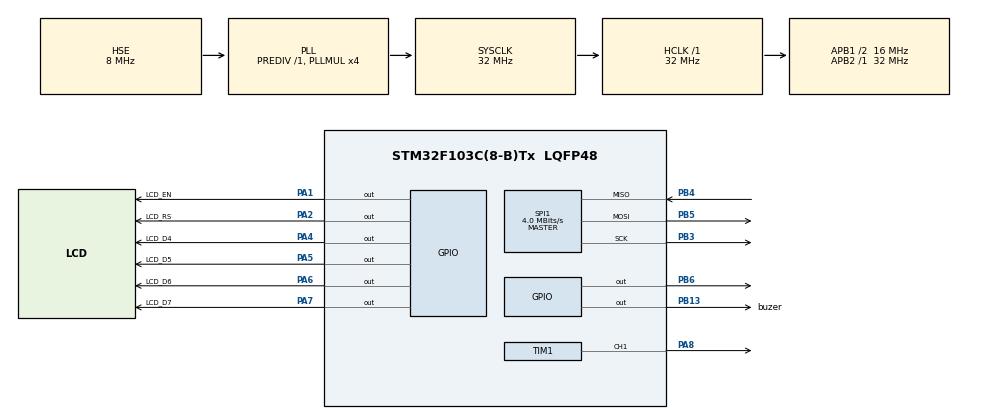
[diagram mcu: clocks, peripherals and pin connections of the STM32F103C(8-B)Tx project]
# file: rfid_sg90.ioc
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Mcu.Family=STM32F1
Mcu.Name=STM32F103C(8-B)Tx
Mcu.Package=LQFP48
NVIC.PriorityGroup=NVIC_PRIORITYGROUP_4
PA1.GPIO_Label=LCD_EN
PA1.Signal=GPIO_Output
PA13.Mode=Serial_Wire
PA13.Signal=SYS_JTMS-SWDIO
PA14.Mode=Serial_Wire
PA14.Signal=SYS_JTCK-SWCLK
PA2.GPIO_Label=LCD_RS
PA2.Signal=GPIO_Output
PA4.GPIO_Label=LCD_D4
PA4.Signal=GPIO_Output
PA5.GPIO_Label=LCD_D5
PA5.Signal=GPIO_Output
PA6.GPIO_Label=LCD_D6
PA6.Signal=GPIO_Output
PA7.GPIO_Label=LCD_D7
PA7.Signal=GPIO_Output
PA8.Signal=S_TIM1_CH1
PB13.GPIO_Label=buzer
PB13.Signal=GPIO_Output
PB3.Mode=Full_Duplex_Master
PB3.Signal=SPI1_SCK
PB4.Mode=Full_Duplex_Master
PB4.Signal=SPI1_MISO
PB5.Mode=Full_Duplex_Master
PB5.Signal=SPI1_MOSI
PB6.Signal=GPIO_Output
PC14-OSC32_IN.Mode=LSE-External-Oscillator
PC14-OSC32_IN.Signal=RCC_OSC32_IN
PC15-OSC32_OUT.Mode=LSE-External-Oscillator
PC15-OSC32_OUT.Signal=RCC_OSC32_OUT
PD0-OSC_IN.Mode=HSE-External-Oscillator
PD0-OSC_IN.Signal=RCC_OSC_IN
PD1-OSC_OUT.Mode=HSE-External-Oscillator
PD1-OSC_OUT.Signal=RCC_OSC_OUT
ProjectManager.HeapSize=0x200
ProjectManager.StackSize=0x400
ProjectManager.TargetToolchain=STM32CubeIDE
RCC.AHBFreq_Value=32000000
RCC.APB1CLKDivider=RCC_HCLK_DIV2
RCC.APB1Freq_Value=16000000
RCC.APB1TimFreq_Value=32000000
RCC.APB2Freq_Value=32000000
RCC.APB2TimFreq_Value=32000000
RCC.HCLKFreq_Value=32000000
RCC.PLLMUL=RCC_PLL_MUL4
RCC.PLLSourceVirtual=RCC_PLLSOURCE_HSE
RCC.SYSCLKFreq_VALUE=32000000
RCC.SYSCLKSource=RCC_SYSCLKSOURCE_PLLCLK
RCC.USBFreq_Value=32000000
SH.S_TIM1_CH1.0=TIM1_CH1,PWM Generation1 CH1
SPI1.BaudRatePrescaler=SPI_BAUDRATEPRESCALER_8
SPI1.CalculateBaudRate=4.0 MBits/s
SPI1.Direction=SPI_DIRECTION_2LINES
SPI1.Mode=SPI_MODE_MASTER
SPI1.VirtualType=VM_MASTER
TIM1.Channel-PWM\ Generation1\ CH1=TIM_CHANNEL_1
TIM1.Period=1799
TIM1.Prescaler=355
board=custom

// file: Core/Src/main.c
/* USER CODE BEGIN Header */
/**
  ******************************************************************************
  * @file           : main.c
  * @brief          : Main program body
  ******************************************************************************
  * @attention
  *
  * Copyright (c) 2022 STMicroelectronics.
  * All rights reserved.
  *
  * This software is licensed under terms that can be found in the LICENSE file
  * in the root directory of this software component.
  * If no LICENSE file comes with this software, it is provided AS-IS.
  *
  ******************************************************************************
  */
/* USER CODE END Header */
#include "main.h"
#include "spi.h"
#include "tim.h"
#include "gpio.h"

/* USER CODE BEGIN Includes */
#include "lcd.h"
#include "rc522.h"
#include "stdio.h"
#include "stdlib.h"
#include "string.h"

/* USER CODE END Includes */

/* USER CODE BEGIN PV */

uint8_t okunan_ham[MFRC522_MAX_LEN] ;
uint16_t kart_no[5] ;
uint16_t kayitli_id1[5] ={115,237,74,167,115} ; //ALİ
uint16_t kayitli_id2[5] ={108,101,174,219,124} ; //SALİH
uint16_t kayitli_id3[5] ={131,4,24,173,50} ;   //SAKİNE
uint16_t kayitli_id4[5] ={83,117,183,29,140} ;  //VELİ

uint8_t text1[16];
uint8_t durum ;
/* USER CODE END PV */

void SystemClock_Config(void);

int main(void)
{

  /* MCU Configuration--------------------------------------------------------*/

  /* Reset of all peripherals, Initializes the Flash interface and the Systick. */
  HAL_Init();

  /* Configure the system clock */
  SystemClock_Config();

  /* USER CODE BEGIN SysInit */

  extern SPI_HandleTypeDef hspi1;

  // RC522
  extern uint8_t MFRC522_Check(uint8_t* id);
  extern uint8_t MFRC522_Compare(uint8_t* CardID, uint8_t* CompareID);
  extern void MFRC522_WriteRegister(uint8_t addr, uint8_t val);
  extern uint8_t MFRC522_ReadRegister(uint8_t addr);
  extern void MFRC522_SetBitMask(uint8_t reg, uint8_t mask);
  extern void MFRC522_ClearBitMask(uint8_t reg, uint8_t mask);
  extern uint8_t MFRC522_Request(uint8_t reqMode, uint8_t* TagType);
  extern uint8_t MFRC522_ToCard(uint8_t command, uint8_t* sendData, uint8_t sendLen, uint8_t* backData, uint16_t* backLen);
  extern uint8_t MFRC522_Anticoll(uint8_t* serNum);
  extern void MFRC522_CalulateCRC(uint8_t* pIndata, uint8_t len, uint8_t* pOutData);
  extern uint8_t MFRC522_SelectTag(uint8_t* serNum);
  extern uint8_t MFRC522_Auth(uint8_t authMode, uint8_t BlockAddr, uint8_t* Sectorkey, uint8_t* serNum);
  extern uint8_t MFRC522_Read(uint8_t blockAddr, uint8_t* recvData);
  extern uint8_t MFRC522_Write(uint8_t blockAddr, uint8_t* writeData);
  extern void MFRC522_Init(void);
  extern void MFRC522_Reset(void);
  extern void MFRC522_AntennaOn(void);
  extern void MFRC522_AntennaOff(void);
  extern void MFRC522_Halt(void);

  void Servo_Angle(int angle) //SERVO KÜTÜPHANESİ
  {
  	if(angle<0)
  		angle=0;
  	if(angle>180)
  		angle=180;
  	angle=angle+45;

  	__HAL_TIM_SET_COMPARE(&htim1,TIM_CHANNEL_1,angle);

  }

  void ana_erkan()// BU KART OKUTULMADIKÇA EKRANDA YAZACAK FONKSİYON WHİLE DÖNGÜSÜNÜN İÇİNDE KULLANDIK.
  {
	  lcd_clear();
	  lcd_print(1,1,"   TEKNOLOJI    ");
	  lcd_print(2,1,"   FAKULTESI    ");
  }

  /* USER CODE END SysInit */

  /* Initialize all configured peripherals */
  MX_GPIO_Init();
  MX_TIM1_Init();
  MX_SPI1_Init();
  /* USER CODE BEGIN 2 */

  MFRC522_Init();

   HAL_TIM_PWM_Start(&htim1, TIM_CHANNEL_1);

  lcd_init(_LCD_4BIT, _LCD_FONT_5x8, _LCD_2LINE);

        ana_erkan();
  	 	HAL_Delay(3000);

  /* USER CODE END 2 */

  /* Infinite loop */
  while (1)
  {

    /* USER CODE BEGIN 3 */

	  if( !MFRC522_Request(PICC_REQIDL,okunan_ham) ) // REQUEST FONKSİYONU RFİD YE KART VAR MI YOK MU ONU SORAR DEVAMLI.
	  	 {

	  	      if(! MFRC522_Anticoll(okunan_ham)) // HERHANGİ BİR KART ALGILANDI�?INDA İKİNCİ Bİ KARTI OKUMAZ.
	  	      {
	  	        for(int a = 0 ; a<5; a++) //OKUNAN HAM VERİYİ KART NO'YA AKTARIYOR.
	  	        {
	  	          kart_no[a] = okunan_ham[a];

	  	        }
	  	                         sprintf(text1,"%d",kart_no) ; //KART NO DAKİ SAYILARI LCD YE YAZMAK İÇİN KULLANILAN FONKSİYON.
	  	       	         		 lcd_clear();
	  	       	         		 lcd_print(1,1,"KART OKUNDU");
	  	       	         		 lcd_print(2,1,text1) ;
	  	       	         		 HAL_GPIO_WritePin(buzer_GPIO_Port, buzer_Pin,GPIO_PIN_SET);
	  	       	         		 HAL_Delay(250);
	  	       	         	     HAL_GPIO_WritePin(buzer_GPIO_Port, buzer_Pin,GPIO_PIN_RESET);
	  	       	         		 HAL_Delay(2000) ;

	  	 if( (MFRC522_Compare(kart_no, kayitli_id1) == MI_OK )) //COMPARE FONKSİYONU KAR�?ILA�?TIMRAYI SA�?LAR DO�?RUYSA İF E GİRER.

	  	 {
	  		lcd_clear();
	  		lcd_print(1,1,"    MERHABA");
	  		lcd_print(2,1,"      ALi");
	  		HAL_Delay(1500);
	  		 durum = 1 ;

	  	 }
	  	 else if((MFRC522_Compare(kart_no, kayitli_id2) == MI_OK )) //COMPARE FONKSİYONU KAR�?ILA�?TIMRAYI SA�?LAR DO�?RUYSA İF E GİRER.
	  	 {
	  		lcd_clear();
	  		lcd_print(1,1,"    MERHABA");
	  	    lcd_print(2,1,"     SALiH");
	  	    HAL_Delay(1500);
	  	    durum = 1 ;
	  	 }
	  	 else if((MFRC522_Compare(kart_no, kayitli_id3) == MI_OK )) //COMPARE FONKSİYONU KAR�?ILA�?TIMRAYI SA�?LAR DO�?RUYSA İF E GİRER.
	  		  	 {
	  		  		lcd_clear();
	  		  		lcd_print(1,1,"    MERHABA");
	  		  		lcd_print(2,1,"     SAKiNE");
	  		  	    HAL_Delay(1500);
	  		  	    durum = 1 ;
	  		  	 }
	  	 else if((MFRC522_Compare(kart_no, kayitli_id4) == MI_OK )) //COMPARE FONKSİYONU KAR�?ILA�?TIMRAYI SA�?LAR DO�?RUYSA İF E GİRER.
	  		  	 {
	  		  		lcd_clear();
	  		  		lcd_print(1,1,"    MERHABA");
	  		  	    lcd_print(2,1,"      VELi");
	  		  	    HAL_Delay(1500);
	  		  	    durum = 1 ;
	  		  	 }

	  	 else
	  	 {
	  		 durum = 0 ;

	  		 lcd_clear();
	  	     lcd_print(1,1,"    KAYITSIZ");
	  	     lcd_print(2,1,"      KiSi");
	  	     for(int d=0; d<6; d++) //BUZZER BURADA 3 PULSE YANİ 3 KEZ ÖTER BU DA DÖNGÜDE 6 KEZ TOGGLE A NEDEN OLUR O YÜZDEN 6 YA KADAR SAYILIR.
	  	     {
	  	    	 HAL_GPIO_TogglePin(buzer_GPIO_Port, buzer_Pin);
	  	    	 HAL_Delay(500);
	  	     }
	  	     HAL_GPIO_WritePin(buzer_GPIO_Port, buzer_Pin, GPIO_PIN_RESET);

	  		 for(int b=0 ; b<5 ; b++) // BURADA KAYITSIZ Kİ�?İYKEN KART NO DİZİSİNİN İÇİ SIFIRLANIYOR./KAYITLI Kİ�?İLERİNKİ DURUM 1 İN İÇİNDE SIFIRLANIYOR.
	  		 {
	  			kart_no[b]= 0 ;
	  		 }
	  		 for(int c=0 ; c<16 ; c++) // BURADA KAYITSIZ Kİ�?İYKEN OKUNAN HAM DİZİSİNİN İÇİ SIFIRLANIYOR.
	  		 {
	  		 okunan_ham[c]= 0 ;
	  		 }
              ana_erkan();
	  	 }

	  	      }
	  	 }

	  	  ////////////////////////////////////////////////////////////////////////////////

	  	 if(durum==1)
	  	 {

	  	lcd_print(1,1,"KAPI ACILIYOR:)");
	  	lcd_print(2,1,"  HOSGELDINIZ");
	  	//int i=0;
	  	  for(int i=0;i<=180;i++) // SERVOYU 0 DAN 180 E 10 MS ARALIKLARLA AZAR AZAR DÖNDÜRÜYO.
	  	  	  {
	  	  	    Servo_Angle(i);
	  	  		HAL_Delay(10);
	  	  	  }
	  	  HAL_Delay(5000);
	  	  lcd_clear();
	  	  lcd_print(1,1,"KAPI KAPANIYOR:)");
	  	  lcd_print(2,1,"   GULE GULE");
	  	  for(int i=180;i>=0;i--) // SERVOYU 180 DAN 0 A 10 MS ARALIKLARLA AZAR AZAR DÖNDÜRÜYO.
	  	  	  {
	  	  	    Servo_Angle(i);
	  	  	  	HAL_Delay(10);
	  	  	  }
	  	 // HAL_Delay(2000);
	  	  for(int c=0 ; c<16 ; c++) //BURADA KAYITLI Kİ�?İYKEN KART NO DİZİSİNİN İÇİ SIFIRLANIYOR.
	  	 		 {
	  	 			 okunan_ham[c]= 0 ;
	  	 		 }
	  	for(int e=0 ; e<5 ; e++) //BURADA KAYITLI Kİ�?İYKEN OKUNAN HAM DİZİSİNİN İÇİ SIFIRLANIYOR.
	  		  		 {
	  		  			kart_no[e]= 0 ;
	  		  		 }
	  	   durum = 0 ;
	  	   ana_erkan();
	  	 }

	  	  MFRC522_Halt(); // EN SON OKUNAN KARTTAN SONRA RFİD Yİ TEMİZLEME FONKSİYONU.

  }
  /* USER CODE END 3 */
}

void SystemClock_Config(void)
{
  RCC_OscInitTypeDef RCC_OscInitStruct = {0};
  RCC_ClkInitTypeDef RCC_ClkInitStruct = {0};

  /** Initializes the RCC Oscillators according to the specified parameters
  * in the RCC_OscInitTypeDef structure.
  */
  RCC_OscInitStruct.OscillatorType = RCC_OSCILLATORTYPE_HSE;
  RCC_OscInitStruct.HSEState = RCC_HSE_ON;
  RCC_OscInitStruct.HSEPredivValue = RCC_HSE_PREDIV_DIV1;
  RCC_OscInitStruct.HSIState = RCC_HSI_ON;
  RCC_OscInitStruct.PLL.PLLState = RCC_PLL_ON;
  RCC_OscInitStruct.PLL.PLLSource = RCC_PLLSOURCE_HSE;
  RCC_OscInitStruct.PLL.PLLMUL = RCC_PLL_MUL4;
  if (HAL_RCC_OscConfig(&RCC_OscInitStruct) != HAL_OK)
  {
    Error_Handler();
  }

  /** Initializes the CPU, AHB and APB buses clocks
  */
  RCC_ClkInitStruct.ClockType = RCC_CLOCKTYPE_HCLK|RCC_CLOCKTYPE_SYSCLK
                              |RCC_CLOCKTYPE_PCLK1|RCC_CLOCKTYPE_PCLK2;
  RCC_ClkInitStruct.SYSCLKSource = RCC_SYSCLKSOURCE_PLLCLK;
  RCC_ClkInitStruct.AHBCLKDivider = RCC_SYSCLK_DIV1;
  RCC_ClkInitStruct.APB1CLKDivider = RCC_HCLK_DIV2;
  RCC_ClkInitStruct.APB2CLKDivider = RCC_HCLK_DIV1;

  if (HAL_RCC_ClockConfig(&RCC_ClkInitStruct, FLASH_LATENCY_1) != HAL_OK)
  {
    Error_Handler();
  }
}

void Error_Handler(void)
{
  __disable_irq();
  while (1)
  {
  }
}
